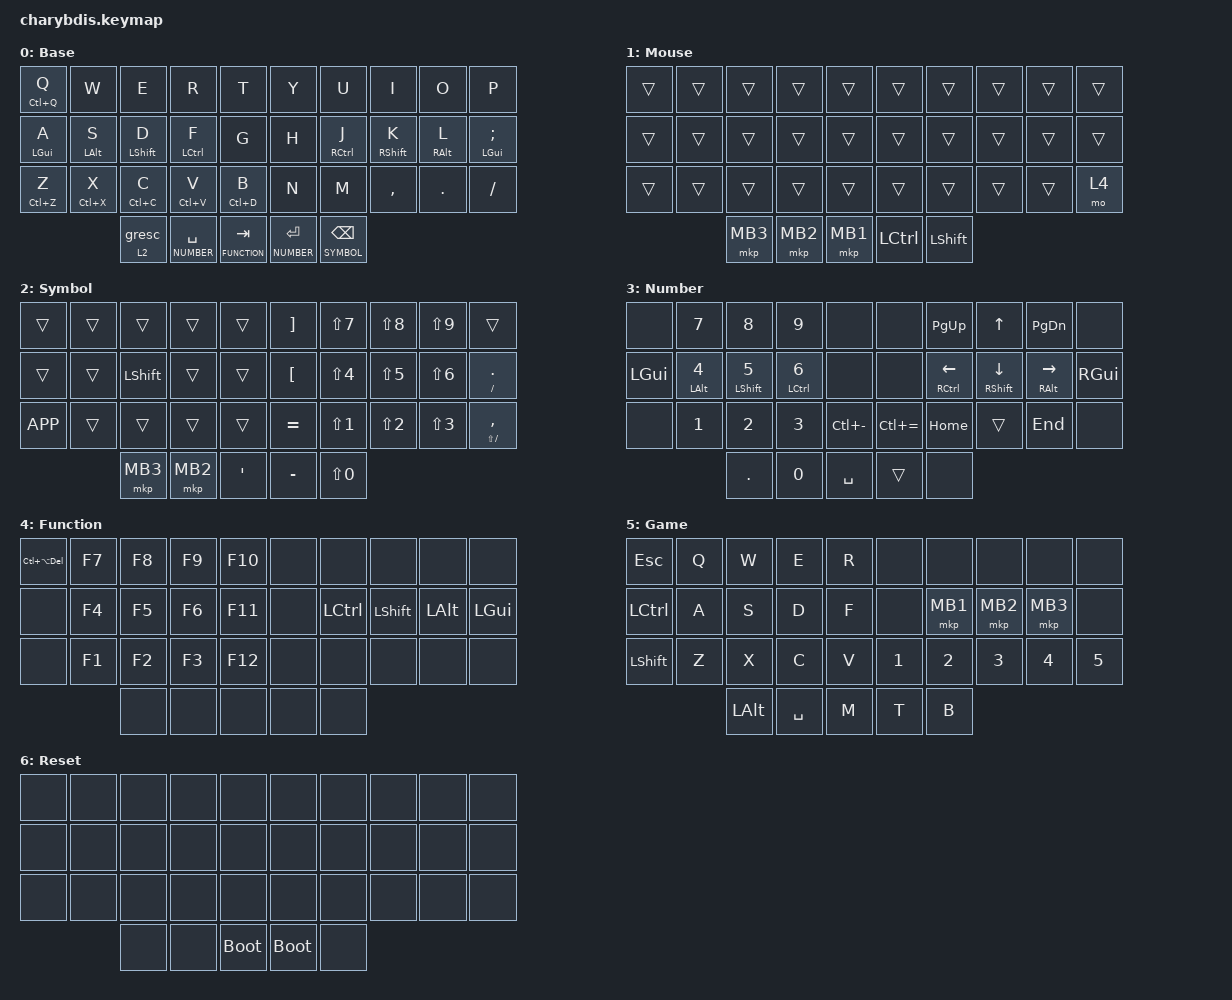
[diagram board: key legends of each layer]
#include <behaviors.dtsi>
#include <dt-bindings/zmk/keys.h>
#include <dt-bindings/zmk/pointing.h>

#define BASE 0
#define MOUSE 1
#define SYMBOL 2
#define NUMBER 3
#define FUNCTION 4
#define GAME 5
#define RESET 6

#define KEYS_L 0 1 2 3 4 10 11 12 13 14 20 21 22 23 24  
#define KEYS_R 5 6 7 8 9 15 16 17 18 19 25 26 27 28 29
#define THUMBS 30 31 32 33 34  

&sk {
  release-after-ms = <600>;
  quick-release;
};

&sl {
  ignore-modifiers;
};

&mt {
  flavor = "tap-preferred";
};

&lt {
  flavor = "balanced";
  tapping-term-ms = <200>;
  quick-tap-ms = <175>;
};

&caps_word {
  /delete-property/ ignore-modifiers;
};

/ {
  behaviors {
    hml: hml {
      compatible = "zmk,behavior-hold-tap";
      #binding-cells = <2>;
      flavor = "balanced";
      tapping-term-ms = <2000>;
      quick-tap-ms = <175>;
      require-prior-idle-ms = <250>;
      hold-trigger-key-positions = <KEYS_R THUMBS>;
      hold-trigger-on-release;
      bindings =
        <&kp>,
        <&kp>;
    };

    hmr: hmr {
      compatible = "zmk,behavior-hold-tap";
      #binding-cells = <2>;
      flavor = "balanced";
      tapping-term-ms = <2000>;
      quick-tap-ms = <175>;
      require-prior-idle-ms = <250>;
      hold-trigger-key-positions = <KEYS_L THUMBS>;
      hold-trigger-on-release;
      bindings =
        <&kp>,
        <&kp>;
    };
    hml_s: hml_s {
      compatible = "zmk,behavior-hold-tap";
      #binding-cells = <2>;
      flavor = "balanced";
      tapping-term-ms = <2000>;
      quick-tap-ms = <175>;
      require-prior-idle-ms = <0>;
      hold-trigger-key-positions = <KEYS_R THUMBS>;
      hold-trigger-on-release;
      bindings =
        <&kp>,
        <&kp>;
    };

    hmr_s: hmr_s {
      compatible = "zmk,behavior-hold-tap";
      #binding-cells = <2>;
      flavor = "balanced";
      tapping-term-ms = <2000>;
      quick-tap-ms = <175>;
      require-prior-idle-ms = <0>;
      hold-trigger-key-positions = <KEYS_L THUMBS>;
      hold-trigger-on-release;
      bindings =
        <&kp>,
        <&kp>;
    };


    smart_shift: smart_shift {
      compatible = "zmk,behavior-mod-morph";
      #binding-cells = <0>;
      bindings = <&sk LSHIFT>, <&caps_word>;
      mods = <(MOD_LSFT)>;
    };

    lt_gresc: layer_tap_grave_escape {
            compatible = "zmk,behavior-hold-tap";
            label = "LT_GRESC";
            #binding-cells = <2>;
            bindings = <&mo>, <&gresc>;
            tapping-term-ms = <200>;
    };
  };

  combos {
    compatible = "zmk,combos";
    timeout-ms = <20>;
    require-prior-idle-ms = <250>;

    combo_reset_layer_left {
      key-positions = <20 24>;
      bindings = <&to RESET>;
    };
    combo_reset_layer_right {
      key-positions = <25 29>;
      bindings = <&to RESET>;
    };
    combo_reset_central {
      key-positions = <32 33>;
      bindings = <&bootloader>;
      require-prior-idle-ms = <2000>;
    };
    combo_normal {
      key-positions = <7 8>;
      bindings = <&to BASE>;
    };
    combo_fn {
      key-positions = <27 28>;
      bindings = <&sl FUNCTION>;
    };
    combo_genshin {
      key-positions = <5 9>;
      bindings = <&to GAME>;
    };
    combo_esc {
      key-positions = <1 2>;
      bindings = <&kp ESCAPE>;
    };
    combo_tab {
      key-positions = <2 3>;
      bindings = <&kp TAB>;
    };
    combo_cdel {
      key-positions = <11 12>;
      bindings = <&kp LC(BACKSPACE)>;
    };
    combo_unlock {
      key-positions = <0 4>;
      bindings = <&studio_unlock>;
    };
  };
  chosen {
    zmk,physical-layout = &charybdis_5col_layout;
  };

  keymap {
    compatible = "zmk,keymap";

    // ╭──────┬──────┬──────┬──────┬──────╮  ╭──────┬──────┬──────┬──────┬──────╮
    //    0      1      2      3      4         5      6      7      8      9
    // ├──────┼──────┼──────┼──────┼──────┤  ├──────┼──────┼──────┼──────┼──────┤
    //    10     11     12     13    14         15     16     17     18     19
    // ├──────┼──────┼──────┼──────┼──────┤  ├──────┼──────┼──────┼──────┼──────┤
    //    20     21     22     23    24         25     26     27     28     29
    // ╰──────┴──────┼──────┼──────┼──────┤  ├──────┼──────┼──────┴──────┴──────╯
    //                  30     31     32        33     34
    //               ╰──────┴──────┴──────╯  ╰──────┴──────╯

    Base {
      display-name = "Base";
      bindings = <
    // ╭────────────┬───────────┬──────────────┬────────────────┬────────────────╮  ╭──────────────┬───────────────┬────────────┬───────────┬───────────────╮
        &mt LC(Q) Q  &kp W       &kp E          &kp R            &kp T               &kp Y          &kp U           &kp I        &kp O        &kp P
    // ├────────────┼───────────┼──────────────┼────────────────┼────────────────┤  ├──────────────┼───────────────┼────────────┼───────────┼───────────────┤           
        &hml LGUI A  &hml LALT S &hml LSHFT D   &hml LCTRL F     &kp G               &kp H          &hmr RCTRL J    &hmr RSHFT K &hmr RALT L  &hmr LGUI SEMI 
    // ├────────────┼───────────┼──────────────┼────────────────┼────────────────┤  ├──────────────┼───────────────┼────────────┼───────────┼───────────────┤
        &mt LC(Z) Z  &mt LC(X) X &mt LC(C) C    &mt LC(V) V      &mt LC(D) B         &kp N          &kp M           &kp COMMA    &kp DOT      &kp FSLH      
    // ╰────────────┴───────────┴──────────────┼────────────────┼────────────────┤  ├──────────────┼───────────────┼────────────┴───────────┴───────────────╯
                                 &lt_gresc 2 0  &lt NUMBER SPACE &lt FUNCTION TAB    &lt NUMBER RET &lt SYMBOL BSPC
    //                          ╰──────────────┴────────────────┴────────────────╯  ╰──────────────┴───────────────╯
      >;
    };

    Mouse {
      display-name = "Mouse";
      bindings = <
    // ╭────────────┬───────────┬──────────────┬────────────────┬────────────────╮  ╭──────────────┬───────────────┬────────────┬───────────┬───────────────╮
        &trans       &trans      &trans         &trans           &trans              &trans         &trans          &trans       &trans      &trans 
    // ├────────────┼───────────┼──────────────┼────────────────┼────────────────┤  ├──────────────┼───────────────┼────────────┼───────────┼───────────────┤           
        &trans       &trans      &trans         &trans           &trans              &trans         &trans          &trans       &trans      &trans 
    // ├────────────┼───────────┼──────────────┼────────────────┼────────────────┤  ├──────────────┼───────────────┼────────────┼───────────┼───────────────┤
        &trans       &trans      &trans         &trans           &trans              &trans         &trans          &trans       &trans      &mo 4 
    // ╰────────────┴───────────┴──────────────┼────────────────┼────────────────┤  ├──────────────┼───────────────┼────────────┴───────────┴───────────────╯
                                 &mkp MB3       &mkp MB2         &mkp MB1            &kp LCTRL      &kp LSHFT
    //                          ╰──────────────┴────────────────┴────────────────╯  ╰──────────────┴───────────────╯
      >;
    };

    Sym {
      display-name = "Symbol";
      bindings = <
    // ╭────────────┬───────────┬──────────────┬────────────────┬────────────────╮  ╭──────────────┬───────────────┬────────────┬───────────┬───────────────────╮
        &trans       &trans      &trans         &trans           &trans              &kp RBKT       &kp LS(N7)      &kp LS(N8)   &kp LS(N9)  &trans 
    // ├────────────┼───────────┼──────────────┼────────────────┼────────────────┤  ├──────────────┼───────────────┼────────────┼───────────┼───────────────────┤           
        &trans       &trans      &kp LSHFT      &trans           &trans              &kp LBKT       &kp LS(N4)      &kp LS(N5)   &kp LS(N6)  &mt SLASH DOT
    // ├────────────┼───────────┼──────────────┼────────────────┼────────────────┤  ├──────────────┼───────────────┼────────────┼───────────┼───────────────────┤
        &kp K_APP    &trans      &trans         &trans           &trans              &kp EQUAL      &kp LS(N1)      &kp LS(N2)   &kp LS(N3)  &mt LS(SLASH) COMMA 
    // ╰────────────┴───────────┴──────────────┼────────────────┼────────────────┤  ├──────────────┼───────────────┼────────────┴───────────┴───────────────────╯
                                 &mkp MB3       &mkp MB2         &kp SQT             &kp MINUS      &kp LS(N0)
    //                          ╰──────────────┴────────────────┴────────────────╯  ╰──────────────┴───────────────╯
      >;
    };

    Num {
      display-name = "Number";
      bindings = <
        &none    &kp N7         &kp N8          &kp N9          &none                  &none         &kp PG_UP         &kp UP            &kp PG_DN         &none      
        &kp LGUI &hml_s LALT N4 &hml_s LSHFT N5 &hml_s LCTRL N6 &none                  &none         &hmr_s RCTRL LEFT &hmr_s RSHFT DOWN &hmr_s RALT RIGHT &kp RGUI    
        &none    &kp N1         &kp N2          &kp N3          &kp LC(MINUS)          &kp LC(EQUAL) &kp HOME          &trans            &kp END           &none      
                                &kp DOT         &kp N0          &kp SPACE              &trans        &none
      >;
    };

    Fun {
      display-name = "Function";
      bindings = <
        &kp LC(LA(DEL)) &kp F7 &kp F8 &kp F9 &kp F10          &none &none     &none     &none    &none        
        &none           &kp F4 &kp F5 &kp F6 &kp F11          &none &kp LCTRL &kp LSHFT &kp LALT &kp LGUI 
        &none           &kp F1 &kp F2 &kp F3 &kp F12          &none &none     &none     &none    &none   
                               &none  &none  &none            &none &none
      >;
    };

    Button {
      display-name = "Game";
      bindings = <
        &kp ESCAPE &kp Q &kp W    &kp E     &kp R          &none  &none    &none    &none    &none
        &kp LCTRL  &kp A &kp S    &kp D     &kp F          &none  &mkp MB1 &mkp MB2 &mkp MB3 &none
        &kp LSHIFT &kp Z &kp X    &kp C     &kp V          &kp N1 &kp N2   &kp N3   &kp N4   &kp N5
                         &kp LALT &kp SPACE &kp M          &kp T  &kp B                      
      >;
    };

    Reset {
      display-name = "Reset";
      bindings = <
        &none &none &none &none &none                &none &none &none &none &none
        &none &none &none &none &none                &none &none &none &none &none
        &none &none &none &none &none                &none &none &none &none &none
                    &none &none &bootloader          &bootloader &none                
      >;
    };
  };
};









